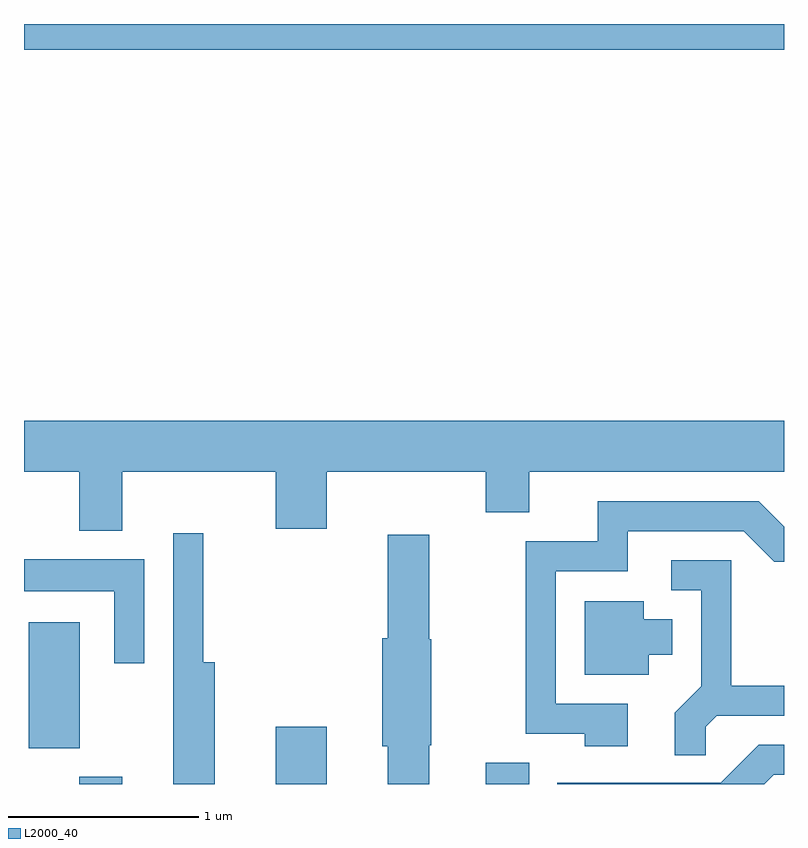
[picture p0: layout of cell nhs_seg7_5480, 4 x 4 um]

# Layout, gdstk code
import gdstk
lib = gdstk.Library(unit=1e-6, precision=1e-09)
def R(c, l, rs):  # rectangles x0, y0, x1, y1
    for r in rs: c.add(gdstk.rectangle(r[:2], r[2:], *l))
def P(c, l, *ps):  # polygons
    for p in ps: c.add(gdstk.Polygon(p, *l))
L2000_40 = (2000, 40)

nhs_seg7_5480 = lib.new_cell('nhs_seg7_5480')
R(nhs_seg7_5480, L2000_40, [(353.901,1688.252,354.129,1688.289), (354.936,1688.252,355.204,1688.554), (356.041,1688.252,356.269,1688.364), (353.636,1688.441,353.904,1689.104), (353.611,1692.116,357.611,1692.252)])
P(nhs_seg7_5480, L2000_40, [(353.611,1689.896),(353.901,1689.896),(353.901,1689.586),(354.129,1689.586),(354.129,1689.896),(354.936,1689.896),(354.936,1689.596),(355.204,1689.596),(355.204,1689.896),(356.041,1689.896),(356.041,1689.681),(356.269,1689.681),(356.269,1689.896),(357.611,1689.896),(357.611,1690.164),(353.611,1690.164)],
  [(356.789,1688.674),(356.409,1688.674),(356.409,1689.371),(356.789,1689.371),(356.789,1689.581),(357.399,1689.581),(357.559,1689.421),(357.611,1689.421),(357.611,1689.605),(357.477,1689.739),(356.631,1689.739),(356.631,1689.529),(356.251,1689.529),(356.251,1688.516),(356.561,1688.516),(356.561,1688.451),(356.789,1688.451)],
  [(354.614,1688.894),(354.554,1688.894),(354.554,1689.573),(354.396,1689.573),(354.396,1688.252),(354.614,1688.252)],
  [(355.744,1688.455),(355.754,1688.455),(355.754,1689.015),(355.744,1689.015),(355.744,1689.564),(355.526,1689.564),(355.526,1689.019),(355.496,1689.019),(355.496,1688.451),(355.526,1688.451),(355.526,1688.252),(355.744,1688.252)],
  [(354.244,1689.434),(353.611,1689.434),(353.611,1689.266),(354.086,1689.266),(354.086,1688.888),(354.244,1688.888)],
  [(357.199,1688.554),(357.257,1688.611),(357.611,1688.611),(357.611,1688.769),(357.334,1688.769),(357.334,1689.429),(357.018,1689.429),(357.018,1689.271),(357.176,1689.271),(357.176,1688.767),(357.036,1688.627),(357.036,1688.403),(357.199,1688.403)],
  [(356.899,1688.931),(357.024,1688.931),(357.024,1689.119),(356.874,1689.119),(356.874,1689.214),(356.561,1689.214),(356.561,1688.826),(356.899,1688.826)],
  [(357.557,1688.301),(357.611,1688.301),(357.611,1688.459),(357.479,1688.459),(357.279,1688.259),(356.418,1688.259),(356.418,1688.252),(357.508,1688.252)])

lib.write_gds('nhs_seg7_5480.gds')
